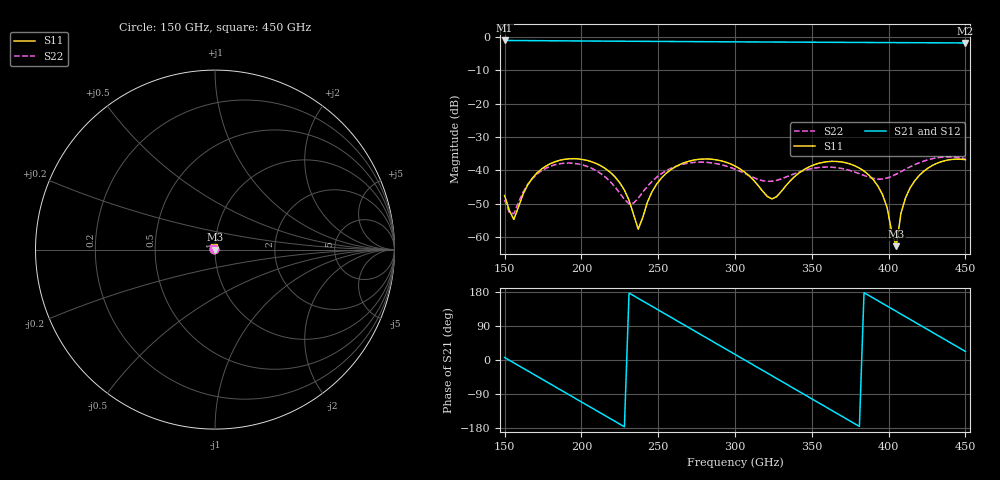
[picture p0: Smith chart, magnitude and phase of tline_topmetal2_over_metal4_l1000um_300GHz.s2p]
#  GHZ S DB R 50
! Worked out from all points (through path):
!   101 points, 150 GHz to 450 GHz, reference 50 ohm
!   highest |S21| = -1.07 dB at 150 GHz (marker M1); lowest = -1.8 dB at 450 GHz (marker M2)
!   group delay of S21, straight-line fit = 6.52 ps
!   lowest |S11| = -62.8 dB at 405 GHz (marker M3), VSWR 1.00, Z = 49.9 - j0.0214 ohm
!   |S11| at or under -10 dB: start of sweep to end of sweep
!   |S22| runs from -53.1 to -36.0 dB; largest |S21 - S12| = 9.6e-14
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150  -47.59 154.1  -1.07 6.6  -1.07 6.6  -48.85 144.9
156  -54.76 67.3  -1.09 -7.5  -1.09 -7.5  -53.07 53.8
171  -40.84 -45.0  -1.14 -42.6  -1.14 -42.6  -41.19 -43.7
186  -37.00 -90.3  -1.18 -77.8  -1.18 -77.8  -38.03 -91.1
201  -36.78 -133.1  -1.23 -113.0  -1.23 -113.0  -38.44 -137.4
225  -43.75 153.6  -1.29 -169.2  -1.29 -169.2  -46.88 124.1
231  -48.98 127.0  -1.31 176.7  -1.31 176.7  -50.01 69.7
237  -57.67 47.0  -1.33 162.6  -1.33 162.6  -48.37 6.6
252  -42.37 -80.3  -1.36 127.5  -1.36 127.5  -41.04 -72.7
276  -36.74 -153.4  -1.43 71.2  -1.43 71.2  -37.57 -156.8
300  -38.71 133.0  -1.49 14.9  -1.49 14.9  -39.68 114.2
324  -48.59 -3.8  -1.54 -41.5  -1.54 -41.5  -43.29 -17.1
351  -38.43 -150.5  -1.60 -104.8  -1.60 -104.8  -39.39 -150.7
369  -37.48 157.4  -1.64 -147.1  -1.64 -147.1  -39.42 139.0
387  -41.36 109.9  -1.68 170.6  -1.68 170.6  -42.05 54.7
396  -47.27 89.3  -1.70 149.5  -1.70 149.5  -42.63 -0.8
402  -58.35 90.8  -1.71 135.4  -1.71 135.4  -41.82 -37.9
405  -62.76 -162.9  -1.72 128.3  -1.72 128.3  -41.16 -54.9
408  -52.98 -141.2  -1.72 121.3  -1.72 121.3  -40.42 -70.5
417  -43.16 -156.3  -1.74 100.1  -1.74 100.1  -38.31 -110.7
432  -37.81 166.1  -1.78 64.9  -1.78 64.9  -36.22 -164.8
450  -36.82 117.7  -1.81 22.6  -1.81 22.6  -36.56 137.8
